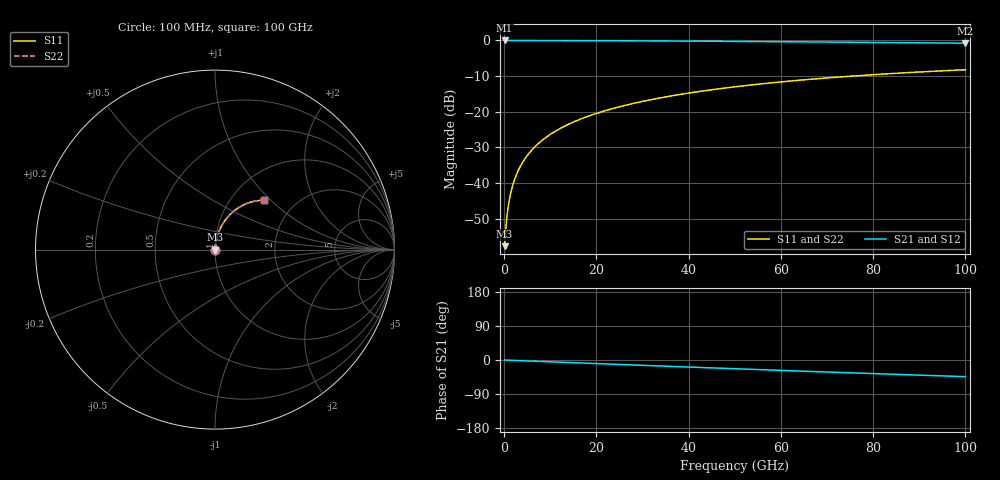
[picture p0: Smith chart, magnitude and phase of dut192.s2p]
! Touchstone file exported from HFSS 2026.1.0
!  File:  C:/ffzhzh/LocalFiles/Ansys_Project_Files/temp_train_RDL_192_1783500540_9504.aedt
!  Generated:  04:50:10 PM Jul  8, 2026
!  Design:  RDL
!  Project:  temp_train_RDL_192_1783500540_9504
! Variables:
!  h_bsmrdl = 2um
!  h_ox = 20um
!  h_rdl = 5um
!  h_sub = 80um
!  h_tmrdl = 2.06um
!  h_tsv = 80um
!  h_via = 3um
!  l_bsmrdl = 300um
!  l_sub = 502.97um
!  l_tmrdl = 102.97um
!  m_sub = 200um
!  pitch = 43.75um
!  r_tsv = 6um
!  s_tmrdl = 10um
!  w_bsmrdl = 18um
!  w_sub = 500um
!  w_tmrdl = 23.73um
!  x_tsv_center1 = 114.835um
!  x_tsv_center2 = 432.835um
!  x_tsv_center3 = 559.535um
!  x_tsv_center4 = 877.535um
!  x_tsv_center5 = 1004.235um
!  x_tsv_center6 = 1322.235um
# GHz S MA R 50.000000
! Terminal data exported
! Port[1] = TM_RDL1_1_T1
! Port[2] = TM_RDL1_1_T2
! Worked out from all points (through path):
!   1000 points, 100 MHz to 100 GHz, reference 50 ohm
!   highest |S21| = -0.01 dB at 100 MHz (marker M1); lowest = -0.8 dB at 100 GHz (marker M2)
!   group delay of S21, straight-line fit = 1.22 ps
!   lowest |S11| = -57.7 dB at 100 MHz (marker M3), VSWR 1.00, Z = 50.1 + j0.0543 ohm
!   |S11| at or under -10 dB: start of sweep to 75.46 GHz
!   |S22| runs from -57.7 to -8.2 dB; largest |S21 - S12| = 6.5e-15
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0.1  0.001306 24.5  0.9988 -0.1  0.9988 -0.1  0.001306 24.5
! Gamma 0 0 0 0
! Port Impedance 50 0 50 0
0.4  0.002471 58.5  0.9987 -0.2  0.9987 -0.2  0.002471 58.5
0.8  0.004313 70.6  0.9986 -0.4  0.9986 -0.4  0.004313 70.6
1  0.005243 73.5  0.9985 -0.5  0.9985 -0.5  0.005243 73.5
1.3  0.006648 76.4  0.9985 -0.6  0.9985 -0.6  0.006648 76.4
1.6  0.008063 78.3  0.9984 -0.8  0.9984 -0.8  0.008063 78.3
2.1  0.01044 80.3  0.9984 -1.0  0.9984 -1.0  0.01044 80.3
2.7  0.0133 81.7  0.9983 -1.3  0.9983 -1.3  0.0133 81.7
3.4  0.01664 82.6  0.9982 -1.6  0.9982 -1.6  0.01664 82.6
4.3  0.02095 83.2  0.9981 -2.1  0.9981 -2.1  0.02095 83.2
5.3  0.02574 83.5  0.9979 -2.5  0.9979 -2.5  0.02574 83.5
6.4  0.03101 83.5  0.9977 -3.1  0.9977 -3.1  0.03101 83.5
9.2  0.04437 82.9  0.9969 -4.4  0.9969 -4.4  0.04437 82.9
12.6  0.06045 81.7  0.9958 -6.0  0.9958 -6.0  0.06045 81.7
16.8  0.08007 80.0  0.994 -8.0  0.994 -8.0  0.08007 80.0
24.2  0.1139 76.8  0.99 -11.4  0.99 -11.4  0.1139 76.8
33.4  0.1546 72.8  0.9837 -15.6  0.9837 -15.6  0.1546 72.8
41.2  0.1878 69.4  0.9775 -19.2  0.9775 -19.2  0.1878 69.4
50.1  0.224 65.6  0.9694 -23.1  0.9694 -23.1  0.224 65.6
66.7  0.2863 58.5  0.9523 -30.3  0.9523 -30.3  0.2863 58.5
83.4  0.3414 51.7  0.9337 -37.3  0.9337 -37.3  0.3414 51.7
100  0.3881 45.1  0.9151 -44.0  0.9151 -44.0  0.3881 45.1
